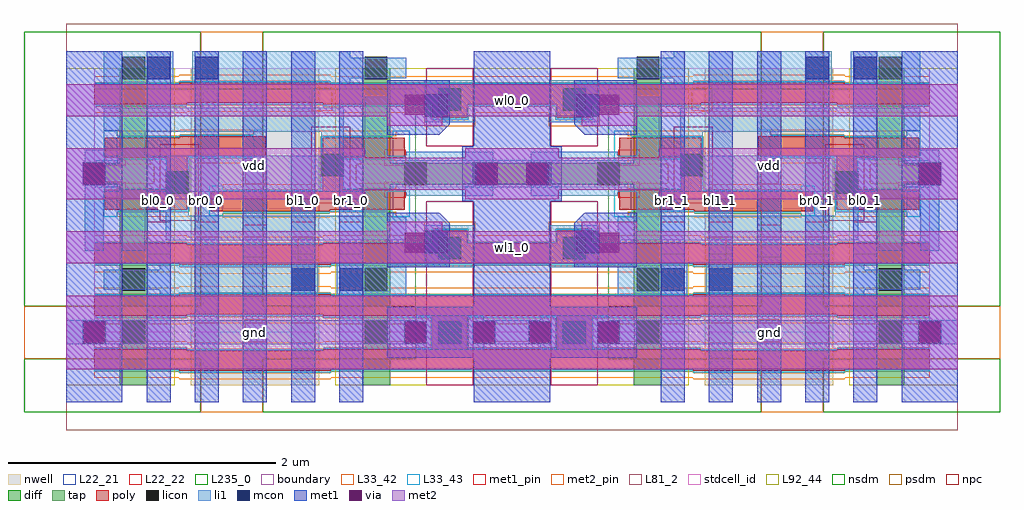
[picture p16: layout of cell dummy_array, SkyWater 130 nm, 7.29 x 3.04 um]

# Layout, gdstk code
from math import pi, radians
import gdstk
lib = gdstk.Library(unit=1e-6, precision=1e-09)
def R(c, l, rs):  # rectangles x0, y0, x1, y1
    for r in rs: c.add(gdstk.rectangle(r[:2], r[2:], *l))
def A(c, l, x, y, w, h, nx, ny, dx, dy):  # array of equal rectangles
    R(c, l, [(x+i*dx, y+j*dy, x+i*dx+w, y+j*dy+h) for i in range(nx) for j in range(ny)])
def P(c, l, *ps):  # polygons
    for p in ps: c.add(gdstk.Polygon(p, *l))
L22_21 = (22, 21)
L22_22 = (22, 22)
L33_42 = (33, 42)
L33_43 = (33, 43)
nwell = (64, 20)
diff = (65, 20)
tap = (65, 44)
poly = (66, 20)
licon = (66, 44)
li1 = (67, 20)
mcon = (67, 44)
met1_pin = (68, 16)
met1 = (68, 20)
via = (68, 44)
met2_pin = (69, 16)
met2 = (69, 20)
L81_2 = (81, 2)
stdcell_id = (81, 4)
L92_44 = (92, 44)
nsdm = (93, 44)
psdm = (94, 20)
npc = (95, 20)
L235_0 = (235, 0)
boundary = (235, 4)

dummy_cell_1rw_1r = lib.new_cell('dummy_cell_1rw_1r')
R(dummy_cell_1rw_1r, L22_21, [(0,1.085,0.19,1.105), (2.21,1.085,2.4,1.105), (2.4,1.085,3.12,1.105), (0,1.265,0.19,1.285), (2.21,1.265,2.4,1.285), (2.4,1.265,3.12,1.285)])
R(dummy_cell_1rw_1r, L22_22, [(0.075,1.005,0.235,1.125), (2.165,1.005,2.325,1.125), (0.075,1.245,0.235,1.365), (2.165,1.245,2.325,1.365)])
R(dummy_cell_1rw_1r, L33_42, [(2.4,-0.34,3.12,-0.29), (2.4,-0.115,2.515,-0.065), (2.465,-0.115,2.515,0.11), (2.795,-0.115,3.12,-0.065), (2.795,-0.115,2.845,0.11), (2.4,0.06,2.515,0.11), (2.795,0.06,3.12,0.11), (2.4,0.285,3.12,0.335), (2.4,0.45,3.12,0.5), (2.4,0.675,2.515,0.725), (2.465,0.675,2.515,0.825), (2.795,0.675,3.12,0.725), (2.795,0.675,2.845,0.825), (2.465,0.775,2.845,0.825), (2.21,0.865,2.255,0.9), (0.445,1.05,0.545,1.315), (1.855,1.05,1.955,1.315), (2.21,1.075,2.255,1.115), (2.21,1.255,2.255,1.29), (2.21,1.465,2.255,1.505), (2.465,1.54,2.515,1.69), (2.465,1.54,2.845,1.59), (2.795,1.54,2.845,1.69), (2.4,1.64,2.515,1.69), (2.795,1.64,3.12,1.69), (2.4,1.865,3.12,1.915)])
P(dummy_cell_1rw_1r, L33_42, [(0.17,1.465),(0.17,1.505),(0.64,1.505),(0.64,1.515),(1.19,1.515),(1.19,1.475),(0.64,1.475),(0.64,1.465)],
  [(0.96,0.855),(0.96,0.89),(1.76,0.89),(1.76,0.9),(2.23,0.9),(2.23,0.865),(1.76,0.865),(1.76,0.855)],
  [(0.96,1.065),(0.96,1.105),(1.65,1.105),(1.65,1.505),(2.23,1.505),(2.23,1.465),(1.69,1.465),(1.69,1.065)],
  [(0.17,0.865),(0.17,0.9),(0.71,0.9),(0.71,1.3),(1.19,1.3),(1.19,1.265),(0.76,1.265),(0.76,0.865)],
  [(0.635,-0.35),(0.635,-0.34),(0,-0.34),(0,-0.29),(0.635,-0.29),(0.635,-0.3),(1.2,-0.3),(1.2,-0.35)],
  [(1.2,-0.35),(1.2,-0.3),(1.765,-0.3),(1.765,-0.29),(2.4,-0.29),(2.4,-0.34),(1.765,-0.34),(1.765,-0.35)],
  [(0.69,-0.125),(0.69,-0.115),(0,-0.115),(0,-0.065),(0.69,-0.065),(0.69,-0.075),(1.2,-0.075),(1.2,-0.125)],
  [(1.2,-0.125),(1.2,-0.075),(1.71,-0.075),(1.71,-0.065),(2.4,-0.065),(2.4,-0.115),(1.71,-0.115),(1.71,-0.125)],
  [(0,0.06),(0,0.11),(0.69,0.11),(0.69,0.12),(1.2,0.12),(1.2,0.07),(0.69,0.07),(0.69,0.06)],
  [(1.71,0.06),(1.71,0.07),(1.2,0.07),(1.2,0.12),(1.71,0.12),(1.71,0.11),(2.4,0.11),(2.4,0.06)],
  [(0,0.285),(0,0.335),(0.635,0.335),(0.635,0.345),(1.2,0.345),(1.2,0.295),(0.635,0.295),(0.635,0.285)],
  [(1.765,0.285),(1.765,0.295),(1.2,0.295),(1.2,0.345),(1.765,0.345),(1.765,0.335),(2.4,0.335),(2.4,0.285)],
  [(1.71,1.64),(1.71,1.65),(1.2,1.65),(1.2,1.7),(1.71,1.7),(1.71,1.69),(2.4,1.69),(2.4,1.64)],
  [(0,1.64),(0,1.69),(0.69,1.69),(0.69,1.7),(1.2,1.7),(1.2,1.65),(0.69,1.65),(0.69,1.64)],
  [(0,1.865),(0,1.915),(0.635,1.915),(0.635,1.925),(1.2,1.925),(1.2,1.875),(0.635,1.875),(0.635,1.865)],
  [(1.765,1.865),(1.765,1.875),(1.2,1.875),(1.2,1.925),(1.765,1.925),(1.765,1.915),(2.4,1.915),(2.4,1.865)],
  [(0.69,0.665),(0.69,0.675),(0,0.675),(0,0.725),(0.69,0.725),(0.69,0.715),(1.2,0.715),(1.2,0.665)],
  [(1.2,0.665),(1.2,0.715),(1.71,0.715),(1.71,0.725),(2.4,0.725),(2.4,0.675),(1.71,0.675),(1.71,0.665)],
  [(0.635,0.44),(0.635,0.45),(0,0.45),(0,0.5),(0.635,0.5),(0.635,0.49),(1.2,0.49),(1.2,0.44)],
  [(1.2,0.44),(1.2,0.49),(1.765,0.49),(1.765,0.5),(2.4,0.5),(2.4,0.45),(1.765,0.45),(1.765,0.44)],
  [(1.865,1.075),(1.865,1.29),(2.23,1.29),(2.23,1.255),(1.9,1.255),(1.9,1.115),(2.23,1.115),(2.23,1.075)],
  [(0.17,1.075),(0.17,1.115),(0.5,1.115),(0.5,1.255),(0.17,1.255),(0.17,1.29),(0.535,1.29),(0.535,1.075)])
R(dummy_cell_1rw_1r, L33_43, [(2.4,-0.29,3.12,-0.275), (0.69,-0.135,1.2,-0.125), (1.2,-0.135,1.71,-0.125), (0,-0.125,0.69,-0.115), (1.71,-0.125,2.4,-0.115), (2.4,-0.125,2.525,-0.115), (2.515,-0.125,2.525,0.125), (2.785,-0.125,2.795,0.125), (2.785,-0.125,3.12,-0.115), (2.4,0.11,2.515,0.125), (2.795,0.11,3.12,0.125), (0,0.275,0.635,0.285), (1.765,0.275,2.4,0.285), (2.4,0.275,3.12,0.285), (0.635,0.285,1.2,0.295), (1.2,0.285,1.765,0.295), (2.4,0.5,3.12,0.515), (0.69,0.655,1.2,0.665), (1.2,0.655,1.71,0.665), (0,0.665,0.69,0.675), (1.71,0.665,2.4,0.675), (2.4,0.665,2.525,0.675), (2.515,0.665,2.525,0.775), (2.785,0.665,3.12,0.675), (2.785,0.665,2.795,0.775), (2.515,0.765,2.795,0.775), (0.07,0.865,0.17,1.115), (2.23,0.865,2.33,1.115), (2.255,0.865,2.355,1.115), (0.86,0.87,0.96,1.095), (0.07,1.255,0.17,1.505), (2.23,1.255,2.33,1.505), (2.255,1.255,2.355,1.505), (1.19,1.265,1.29,1.515), (0.17,1.455,0.64,1.465), (0.64,1.465,1.19,1.475), (2.515,1.59,2.795,1.605), (2.515,1.595,2.525,1.705), (2.785,1.595,2.795,1.705), (2.4,1.69,2.525,1.705), (2.785,1.69,3.12,1.705), (0,1.855,0.635,1.865), (1.765,1.855,2.4,1.865), (2.4,1.855,3.12,1.865), (0.635,1.865,1.2,1.875), (1.2,1.865,1.765,1.875)])
P(dummy_cell_1rw_1r, L33_43, [(0.96,0.89),(0.96,0.905),(1.76,0.905),(1.76,0.915),(2.23,0.915),(2.23,0.9),(1.76,0.9),(1.76,0.89)],
  [(0.17,0.9),(0.17,0.915),(0.695,0.915),(0.695,1.315),(1.19,1.315),(1.19,1.3),(0.71,1.3),(0.71,0.9)],
  [(0.96,1.055),(0.96,1.065),(1.69,1.065),(1.69,1.465),(2.23,1.465),(2.23,1.455),(1.705,1.455),(1.705,1.055)],
  [(0.635,-0.3),(0.635,-0.29),(0,-0.29),(0,-0.275),(0.635,-0.275),(0.635,-0.285),(1.2,-0.285),(1.2,-0.3)],
  [(1.2,-0.3),(1.2,-0.285),(1.765,-0.285),(1.765,-0.275),(2.4,-0.275),(2.4,-0.29),(1.765,-0.29),(1.765,-0.3)],
  [(0,0.11),(0,0.125),(0.69,0.125),(0.69,0.135),(1.2,0.135),(1.2,0.12),(0.69,0.12),(0.69,0.11)],
  [(1.71,0.11),(1.71,0.12),(1.2,0.12),(1.2,0.135),(1.71,0.135),(1.71,0.125),(2.4,0.125),(2.4,0.11)],
  [(1.71,1.69),(1.71,1.7),(1.2,1.7),(1.2,1.715),(1.71,1.715),(1.71,1.705),(2.4,1.705),(2.4,1.69)],
  [(0,1.69),(0,1.705),(0.69,1.705),(0.69,1.715),(1.2,1.715),(1.2,1.7),(0.69,1.7),(0.69,1.69)],
  [(0.635,0.49),(0.635,0.5),(0,0.5),(0,0.515),(0.635,0.515),(0.635,0.505),(1.2,0.505),(1.2,0.49)],
  [(1.2,0.49),(1.2,0.505),(1.765,0.505),(1.765,0.515),(2.4,0.515),(2.4,0.5),(1.765,0.5),(1.765,0.49)],
  [(1.855,1.065),(1.855,1.305),(2.23,1.305),(2.23,1.29),(1.865,1.29),(1.865,1.075),(2.23,1.075),(2.23,1.065)],
  [(0.17,1.065),(0.17,1.075),(0.535,1.075),(0.535,1.29),(0.17,1.29),(0.17,1.305),(0.545,1.305),(0.545,1.065)])
R(dummy_cell_1rw_1r, nwell, [(0.72,-0.395,1.68,1.975)])
R(dummy_cell_1rw_1r, diff, [(0.19,-0.395,0.4,-0.195), (2,-0.395,2.21,-0.195), (0.19,0.195,0.4,0.395), (2,0.195,2.21,0.395), (2.4,1.105,3.12,1.265)])
P(dummy_cell_1rw_1r, diff, [(2,0.395),(2,1.975),(2.21,1.975),(2.21,1.265),(2.4,1.265),(2.4,1.105),(2.21,1.105),(2.21,0.395)],
  [(0.19,0.395),(0.19,1.105),(0,1.105),(0,1.265),(0.19,1.265),(0.19,1.975),(0.4,1.975),(0.4,0.395)])
R(dummy_cell_1rw_1r, tap, [(0.19,-0.195,0.4,0.195), (2,-0.195,2.21,0.195)])
R(dummy_cell_1rw_1r, poly, [(2.4,-0.275,3.12,-0.125), (2.525,-0.125,2.785,0.125), (2.4,0.125,3.12,0.275), (0.87,0.905,1.12,1.055)])
P(dummy_cell_1rw_1r, poly, [(2.4,0.515),(2.4,0.665),(2.525,0.665),(2.525,0.765),(2.785,0.765),(2.785,0.665),(3.12,0.665),(3.12,0.515)],
  [(2.525,1.605),(2.525,1.705),(2.4,1.705),(2.4,1.855),(3.12,1.855),(3.12,1.705),(2.785,1.705),(2.785,1.605)],
  [(1.71,0.125),(1.71,0.135),(1.2,0.135),(1.2,0.285),(1.765,0.285),(1.765,0.275),(2.4,0.275),(2.4,0.125)],
  [(1.2,-0.285),(1.2,-0.135),(1.71,-0.135),(1.71,-0.125),(2.4,-0.125),(2.4,-0.275),(1.765,-0.275),(1.765,-0.285)],
  [(0,0.125),(0,0.275),(0.635,0.275),(0.635,0.285),(1.2,0.285),(1.2,0.135),(0.69,0.135),(0.69,0.125)],
  [(0.635,-0.285),(0.635,-0.275),(0,-0.275),(0,-0.125),(0.69,-0.125),(0.69,-0.135),(1.2,-0.135),(1.2,-0.285)],
  [(0.08,0.915),(0.08,1.065),(0.545,1.065),(0.545,1.305),(0.08,1.305),(0.08,1.455),(0.64,1.455),(0.64,1.465),(1.28,1.465),(1.28,1.315),(0.695,1.315),(0.695,0.915)],
  [(0,1.705),(0,1.855),(0.635,1.855),(0.635,1.865),(1.2,1.865),(1.2,1.715),(0.69,1.715),(0.69,1.705)],
  [(0.635,0.505),(0.635,0.515),(0,0.515),(0,0.665),(0.69,0.665),(0.69,0.655),(1.2,0.655),(1.2,0.505)],
  [(1.12,0.905),(1.12,1.055),(1.705,1.055),(1.705,1.455),(2.32,1.455),(2.32,1.305),(1.855,1.305),(1.855,1.065),(2.32,1.065),(2.32,0.915),(1.76,0.915),(1.76,0.905)],
  [(1.2,0.505),(1.2,0.655),(1.71,0.655),(1.71,0.665),(2.4,0.665),(2.4,0.515),(1.765,0.515),(1.765,0.505)],
  [(1.71,1.705),(1.71,1.715),(1.2,1.715),(1.2,1.865),(1.765,1.865),(1.765,1.855),(2.4,1.855),(2.4,1.705)])
R(dummy_cell_1rw_1r, licon, [(0.21,-0.085,0.38,0.085), (2.02,-0.085,2.19,0.085), (2.57,-0.085,2.74,0.085), (0.21,0.31,0.38,0.395), (2.02,0.31,2.19,0.395), (0.21,0.395,0.38,0.48), (2.02,0.395,2.19,0.48), (2.57,0.545,2.74,0.715), (0.535,1.035,0.705,1.12), (-0.085,1.1,0,1.27), (0,1.1,0.085,1.27), (2.315,1.1,2.4,1.27), (2.4,1.1,2.485,1.27), (2.825,1.1,2.91,1.27), (2.91,1.1,2.995,1.27), (0.535,1.12,0.705,1.205), (1.695,1.165,1.865,1.25), (1.695,1.25,1.865,1.335), (2.57,1.655,2.74,1.825), (0.21,1.89,0.38,1.975), (2.02,1.89,2.19,1.975), (0.21,1.975,0.38,2.06), (2.02,1.975,2.19,2.06)])
R(dummy_cell_1rw_1r, li1, [(2.4,-0.13,2.91,0.13), (-0.21,-0.09,0,0.09), (0,-0.09,0.525,0.09), (0.525,-0.09,1.2,0.09), (1.2,-0.09,1.875,0.09), (1.875,-0.09,2.4,0.09), (2.91,-0.09,3.12,0.09), (1.2,0.27,1.67,0.395), (1.81,0.27,2.33,0.395), (1.2,0.395,1.67,0.52), (1.81,0.395,2.33,0.52), (2.47,0.485,2.84,0.8), (-0.07,0.61,0,1.365), (0,0.61,0.07,1.365), (2.33,1.02,2.4,1.35), (2.4,1.02,2.91,1.35), (2.91,1.02,2.98,1.35), (0.07,1.05,1.2,1.32), (1.2,1.05,2.33,1.32), (2.47,1.57,2.84,1.885), (0.07,1.85,0.59,1.975), (0.73,1.85,1.2,1.975), (0.07,1.975,0.59,2.1), (0.73,1.975,1.2,2.1)])
P(dummy_cell_1rw_1r, li1, [(0.49,0.27),(0.49,0.32),(0.07,0.32),(0.07,0.395),(1.2,0.395),(1.2,0.27)],
  [(1.2,1.975),(1.2,2.1),(1.91,2.1),(1.91,2.05),(2.33,2.05),(2.33,1.975)],
  [(1.2,1.85),(1.2,1.975),(2.33,1.975),(2.33,1.9),(1.91,1.9),(1.91,1.85)],
  [(1.695,1.065),(1.695,1.5),(1.2,1.5),(1.2,1.68),(1.865,1.68),(1.865,1.065)],
  [(1.2,0.69),(1.2,0.87),(2.02,0.87),(2.02,1.76),(2.19,1.76),(2.19,0.865),(2.33,0.865),(2.33,0.69)],
  [(0.07,0.395),(0.07,0.47),(0.49,0.47),(0.49,0.52),(1.2,0.52),(1.2,0.395)],
  [(0.535,0.69),(0.535,1.305),(0.705,1.305),(0.705,0.87),(1.2,0.87),(1.2,0.69)],
  [(0.21,0.61),(0.21,1.505),(0.07,1.505),(0.07,1.68),(1.2,1.68),(1.2,1.5),(0.38,1.5),(0.38,0.61)])
R(dummy_cell_1rw_1r, mcon, [(-0.085,-0.085,0,0.085), (-0.085,-0.085,0,0.085), (0,-0.085,0.085,0.085), (0,-0.085,0.085,0.085), (2.315,-0.085,2.4,0.085), (2.315,-0.085,2.4,0.085), (2.4,-0.085,2.485,0.085), (2.825,-0.085,2.91,0.085), (2.91,-0.085,2.995,0.085), (2.91,-0.085,2.995,0.085), (1.475,0.31,1.645,0.395), (1.835,0.31,2.005,0.395), (1.475,0.395,1.645,0.48), (1.835,0.395,2.005,0.48), (2.47,0.59,2.64,0.76), (-0.085,1.1,0,1.27), (0,1.1,0.085,1.27), (2.845,1.1,3.015,1.27), (2.47,1.61,2.64,1.78), (0.395,1.89,0.565,1.975), (0.755,1.89,0.925,1.975), (0.395,1.975,0.565,2.06), (0.755,1.975,0.925,2.06)])
R(dummy_cell_1rw_1r, met1_pin, [(1.11,0.563,1.29,0.803), (0.39,0.585,0.57,0.825), (0.75,0.585,0.93,0.825), (1.47,0.585,1.65,0.825), (1.47,0.585,1.65,0.825), (1.83,0.585,2.01,0.825)])
A(dummy_cell_1rw_1r, met1, 0.39, -0.52, 0.18, 0.915, 5, 1, 0.36, 0)
R(dummy_cell_1rw_1r, met1, [(-0.21,-0.52,0,-0.19), (0,-0.52,0.21,-0.19), (2.91,-0.52,3.12,-0.19), (-0.21,-0.19,0,0.19), (0,-0.19,0.21,0.19), (2.19,-0.19,2.4,0.19), (2.91,-0.19,3.12,0.19), (-0.21,0.19,0,0.395), (0,0.19,0.21,0.395), (2.91,0.19,3.12,0.395), (-0.21,0.395,0,2.1), (0,0.395,0.21,2.1), (0.39,0.395,0.57,2.1), (0.39,0.395,0.57,2.1), (0.75,0.395,0.93,2.1), (0.75,0.395,0.93,2.1), (1.11,0.395,1.29,2.1), (1.11,0.395,1.29,2.1), (1.47,0.395,1.65,2.1), (1.47,0.395,1.65,2.1), (1.83,0.395,2.01,2.1), (1.83,0.395,2.01,2.1), (2.835,0.395,2.91,2.1), (2.91,0.395,3.12,2.1), (2.19,0.485,2.4,0.895), (2.75,0.98,2.835,1.39), (2.19,1.475,2.4,1.885)])
P(dummy_cell_1rw_1r, met1, [(2.835,-0.52),(2.835,-0.19),(2.4,-0.19),(2.4,0.19),(2.835,0.19),(2.835,0.395),(2.91,0.395),(2.91,-0.52)],
  [(2.4,1.475),(2.4,1.885),(2.655,1.885),(2.655,1.555),(2.575,1.475)],
  [(2.4,0.485),(2.4,0.895),(2.575,0.895),(2.655,0.815),(2.655,0.485)])
R(dummy_cell_1rw_1r, via, [(-0.075,-0.075,0,0.075), (0,-0.075,0.075,0.075), (2.325,-0.075,2.4,0.075), (2.4,-0.075,2.475,0.075), (2.835,-0.075,2.91,0.075), (2.91,-0.075,2.985,0.075), (2.32,0.595,2.47,0.745), (-0.075,1.11,0,1.26), (0,1.11,0.075,1.26), (2.86,1.11,3.01,1.26), (2.91,1.11,2.985,1.26), (2.32,1.625,2.47,1.775)])
R(dummy_cell_1rw_1r, met2_pin, [(1.123,-0.071,1.279,0.099), (1.519,0.538,1.675,0.708), (1.128,1.111,1.284,1.281), (1.623,1.657,1.779,1.827)])
R(dummy_cell_1rw_1r, met2, [(-0.21,-0.275,0,0.275), (0,-0.275,0.93,0.275), (0.93,-0.275,1.47,0.275), (0.93,-0.275,1.47,0.275), (1.47,-0.275,3.12,0.275), (-0.21,0.515,0,0.755), (0,0.515,2.4,0.755), (0,0.515,2.4,0.755), (2.4,0.515,2.91,0.755), (2.91,0.515,3.12,0.755), (2.19,0.755,2.4,0.825), (2.4,0.755,2.6,0.825), (-0.21,0.995,0.93,1.375), (0.93,0.995,1.47,1.375), (0.93,0.995,1.47,1.375), (2.91,0.995,3.12,1.375), (2.19,1.545,2.4,1.615), (2.4,1.545,2.6,1.615), (-0.21,1.615,0,1.855), (0,1.615,2.4,1.855), (0,1.615,2.4,1.855), (2.4,1.615,2.91,1.855), (2.91,1.615,3.12,1.855)])
P(dummy_cell_1rw_1r, met2, [(1.47,0.995),(1.47,1.375),(2.02,1.375),(2.02,1.305),(2.4,1.305),(2.4,1.065),(2.02,1.065),(2.02,0.995)],
  [(2.77,0.995),(2.77,1.065),(2.4,1.065),(2.4,1.305),(2.77,1.305),(2.77,1.375),(2.91,1.375),(2.91,0.995)])
R(dummy_cell_1rw_1r, L81_2, [(-0.21,-0.73,3.12,2.305)])
R(dummy_cell_1rw_1r, L92_44, [(-0.21,-0.395,0.6,1.975), (1.8,-0.395,3.12,1.975)])
R(dummy_cell_1rw_1r, nsdm, [(-0.525,-0.595,0.795,-0.195), (1.26,-0.595,3.435,-0.195), (2.4,-0.195,3.435,0.195), (-0.525,0.195,0.795,2.245), (1.26,0.195,3.435,2.245)])
R(dummy_cell_1rw_1r, psdm, [(0.795,-0.595,1.26,-0.195), (-0.525,-0.195,2.4,0.195), (0.795,0.195,1.26,2.245)])
R(dummy_cell_1rw_1r, npc, [(2.48,-0.395,2.83,0.395), (2.48,0.395,2.83,0.98), (0.49,0.835,0.78,1.405), (1.62,0.965,1.91,1.535), (2.48,1.39,2.83,1.975)])
R(dummy_cell_1rw_1r, L235_0, [(0,0,2.4,1.82), (0,0,2.4,1.58), (0,0,2.4,1.58), (0,0,2.4,1.58), (0,0,2.4,1.58), (0,0,2.4,1.58)])
R(dummy_cell_1rw_1r, boundary, [(0,0,3.12,1.975)])
dummy_cell_1rw_1r.add(gdstk.Label('gnd', (1.205,1.2), layer=69, texttype=20))
dummy_cell_1rw_1r.add(gdstk.Label('gnd', (1.237,0.045), layer=69, texttype=20))
dummy_cell_1rw_1r.add(gdstk.Label('wl0', (1.703,1.737), layer=69, texttype=20))
dummy_cell_1rw_1r.add(gdstk.Label('wl1', (1.614,0.622), layer=69, texttype=20))
dummy_cell_1rw_1r.add(gdstk.Label('vdd', (1.198,0.684), layer=68, texttype=20))
dummy_cell_1rw_1r.add(gdstk.Label('bl0', (0.485,0.708), layer=68, texttype=20))
dummy_cell_1rw_1r.add(gdstk.Label('bl1', (1.557,0.708), layer=68, texttype=20))
dummy_cell_1rw_1r.add(gdstk.Label('br0', (0.832,0.694), layer=68, texttype=20))
dummy_cell_1rw_1r.add(gdstk.Label('br1', (1.928,0.708), layer=68, texttype=20))
dummy_cell_1rw_1r.add(gdstk.Label('short li', (0.16,0.71), layer=83, texttype=44))
dummy_cell_1rw_1r.add(gdstk.Label('no mcon', (0.2,0.795), layer=83, texttype=44))
dummy_cell_1rw_1r.add(gdstk.Label('in cell', (0.16,0.9), layer=83, texttype=44))
dummy_cell_1rw_1r.add(gdstk.Label('MAIN CELL', (1.2,0.845), layer=83, texttype=44))
dummy_cell_1rw_1r.add(gdstk.Label('opt.1', (1.205,0.75), layer=83, texttype=44))
dummy_cell_1rw_1r.add(gdstk.Label('short met1', (0.225,0.285), layer=83, texttype=44))
dummy_cell_1rw_1r.add(gdstk.Label('short met1', (0.215,1.295), layer=83, texttype=44))
dummy_cell_1rw_1r.add(gdstk.Label('short li', (0.16,0.87), layer=83, texttype=44))
dummy_cell_1rw_1r.add(gdstk.Label('no mcon', (0.2,0.785), layer=83, texttype=44))
dummy_cell_1rw_1r.add(gdstk.Label('in cell', (0.16,0.68), layer=83, texttype=44))
dummy_cell_1rw_1r.add(gdstk.Label('short met1', (0.225,0.285), layer=83, texttype=44))
dummy_cell_1rw_1r.add(gdstk.Label('short met1', (0.215,1.295), layer=83, texttype=44))
dummy_cell_1rw_1r.add(gdstk.Label('short li', (0.16,0.87), layer=83, texttype=44))
dummy_cell_1rw_1r.add(gdstk.Label('no mcon', (0.2,0.785), layer=83, texttype=44))
dummy_cell_1rw_1r.add(gdstk.Label('in cell', (0.16,0.68), layer=83, texttype=44))
dummy_cell_1rw_1r.add(gdstk.Label('short met1', (0.225,0.285), layer=83, texttype=44))
dummy_cell_1rw_1r.add(gdstk.Label('short met1', (0.215,1.295), layer=83, texttype=44))
dummy_cell_1rw_1r.add(gdstk.Label('short li', (0.16,0.87), layer=83, texttype=44))
dummy_cell_1rw_1r.add(gdstk.Label('no mcon', (0.2,0.785), layer=83, texttype=44))
dummy_cell_1rw_1r.add(gdstk.Label('in cell', (0.16,0.68), layer=83, texttype=44))
dummy_cell_1rw_1r.add(gdstk.Label('short met1', (0.225,0.285), layer=83, texttype=44))
dummy_cell_1rw_1r.add(gdstk.Label('short met1', (0.215,1.295), layer=83, texttype=44))
dummy_cell_1rw_1r.add(gdstk.Label('short li', (0.16,0.87), layer=83, texttype=44))
dummy_cell_1rw_1r.add(gdstk.Label('no mcon', (0.2,0.785), layer=83, texttype=44))
dummy_cell_1rw_1r.add(gdstk.Label('in cell', (0.16,0.68), layer=83, texttype=44))
dummy_cell_1rw_1r.add(gdstk.Label('npd', (0.293,0.232), layer=66, texttype=83))
dummy_cell_1rw_1r.add(gdstk.Label('npd', (2.099,0.235), layer=66, texttype=83))
dummy_cell_1rw_1r.add(gdstk.Label('npd', (2.096,0.584), layer=66, texttype=83))
dummy_cell_1rw_1r.add(gdstk.Label('npd', (0.307,0.584), layer=66, texttype=83))
dummy_cell_1rw_1r.add(gdstk.Label('npd', (0.29,1.78), layer=66, texttype=83))
dummy_cell_1rw_1r.add(gdstk.Label('npd', (0.29,1.78), layer=66, texttype=83))
dummy_cell_1rw_1r.add(gdstk.Label('npd', (0.29,1.78), layer=66, texttype=83))
dummy_cell_1rw_1r.add(gdstk.Label('npd', (0.29,1.78), layer=66, texttype=83))
dummy_cell_1rw_1r.add(gdstk.Label('npd', (2.101,1.786), layer=66, texttype=83))
dummy_cell_1rw_1r.add(gdstk.Label('npd', (2.101,1.786), layer=66, texttype=83))
dummy_cell_1rw_1r.add(gdstk.Label('npd', (2.109,1.395), layer=66, texttype=83))
dummy_cell_1rw_1r.add(gdstk.Label('npd', (2.107,0.987), layer=66, texttype=83))
dummy_cell_1rw_1r.add(gdstk.Label('npd', (0.291,1.385), layer=66, texttype=83))
dummy_cell_1rw_1r.add(gdstk.Label('npd', (0.289,0.984), layer=66, texttype=83))
dummy_cell_1rw_1r.add(gdstk.Label('br0', (0.84,1.248), layer=68, texttype=16))
dummy_cell_1rw_1r.add(gdstk.Label('gnd', (1.2,1.185), layer=69, texttype=16))
dummy_cell_1rw_1r.add(gdstk.Label('gnd', (1.2,0), layer=69, texttype=16))
dummy_cell_1rw_1r.add(gdstk.Label('wl1', (1.2,0.635), layer=69, texttype=16))
dummy_cell_1rw_1r.add(gdstk.Label('bl0', (0.48,1.248), layer=68, texttype=16))
dummy_cell_1rw_1r.add(gdstk.Label('bl1', (1.56,1.248), layer=68, texttype=16))
dummy_cell_1rw_1r.add(gdstk.Label('br1', (1.92,1.248), layer=68, texttype=16))
dummy_cell_1rw_1r.add(gdstk.Label('vdd', (1.2,1.248), layer=68, texttype=16))
dummy_cell_1rw_1r.add(gdstk.Label('wl0', (1.2,1.735), layer=69, texttype=16))

dummy_array = lib.new_cell('dummy_array')
R(dummy_array, met1, [(0.39,0,0.57,1.975), (0.75,0,0.93,1.975), (1.47,0,1.65,1.975), (1.83,0,2.01,1.975), (4.23,0,4.41,1.975), (4.59,0,4.77,1.975), (5.31,0,5.49,1.975), (5.67,0,5.85,1.975), (1.11,0.395,1.29,2.1), (4.95,0.395,5.13,2.1)])
R(dummy_array, met2, [(0.93,-0.275,1.47,0.275), (4.77,-0.275,5.31,0.275), (0,0.515,6.24,0.755), (0.93,0.995,1.47,1.375), (4.77,0.995,5.31,1.375), (0,1.615,6.24,1.855)])
R(dummy_array, stdcell_id, [(0,0,6.24,1.975)])
R(dummy_array, boundary, [(0,0,6.24,1.975)])
dummy_array.add(gdstk.Reference(dummy_cell_1rw_1r, (0,0)))
dummy_array.add(gdstk.Reference(dummy_cell_1rw_1r, (6.24,0), rotation=pi, x_reflection=True))
dummy_array.add(gdstk.Label('br0_0', (0.84,0.988), layer=68, texttype=16))
dummy_array.add(gdstk.Label('bl0_1', (5.76,0.988), layer=68, texttype=16))
dummy_array.add(gdstk.Label('br1_0', (1.92,0.988), layer=68, texttype=16))
dummy_array.add(gdstk.Label('wl1_0', (3.12,0.635), layer=69, texttype=16))
dummy_array.add(gdstk.Label('br1_1', (4.32,0.988), layer=68, texttype=16))
dummy_array.add(gdstk.Label('vdd', (5.04,1.248), layer=68, texttype=16))
dummy_array.add(gdstk.Label('vdd', (1.2,1.248), layer=68, texttype=16))
dummy_array.add(gdstk.Label('gnd', (1.2,1.185), layer=69, texttype=16))
dummy_array.add(gdstk.Label('gnd', (5.04,0), layer=69, texttype=16))
dummy_array.add(gdstk.Label('gnd', (1.2,0), layer=69, texttype=16))
dummy_array.add(gdstk.Label('gnd', (5.04,1.185), layer=69, texttype=16))
dummy_array.add(gdstk.Label('br0_1', (5.4,0.988), layer=68, texttype=16))
dummy_array.add(gdstk.Label('bl0_0', (0.48,0.988), layer=68, texttype=16))
dummy_array.add(gdstk.Label('wl0_0', (3.12,1.735), layer=69, texttype=16))
dummy_array.add(gdstk.Label('bl1_0', (1.56,0.988), layer=68, texttype=16))
dummy_array.add(gdstk.Label('bl1_1', (4.68,0.988), layer=68, texttype=16))

lib.write_gds('dummy_array.gds')
